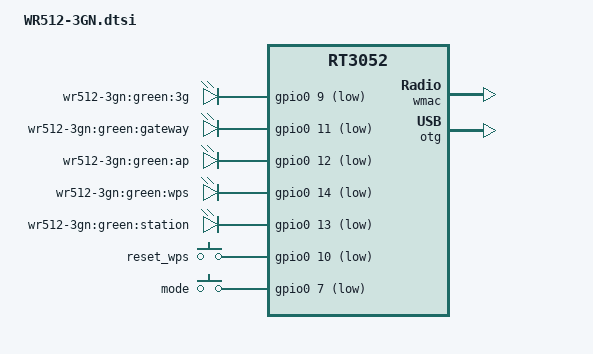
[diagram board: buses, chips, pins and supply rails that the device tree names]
#include "rt3050.dtsi"

#include <dt-bindings/gpio/gpio.h>
#include <dt-bindings/input/input.h>

/ {
	compatible = "unbranded,wr512-3gn", "ralink,rt3052-soc";

	aliases {
		led-boot = &led_wps;
		led-failsafe = &led_wps;
		led-running = &led_wps;
		led-upgrade = &led_wps;
	};

	leds {
		compatible = "gpio-leds";

		3g {
			label = "wr512-3gn:green:3g";
			gpios = <&gpio0 9 GPIO_ACTIVE_LOW>;
		};

		gateway {
			label = "wr512-3gn:green:gateway";
			gpios = <&gpio0 11 GPIO_ACTIVE_LOW>;
		};

		ap {
			label = "wr512-3gn:green:ap";
			gpios = <&gpio0 12 GPIO_ACTIVE_LOW>;
		};

		led_wps: wps {
			label = "wr512-3gn:green:wps";
			gpios = <&gpio0 14 GPIO_ACTIVE_LOW>;
		};

		station {
			label = "wr512-3gn:green:station";
			gpios = <&gpio0 13 GPIO_ACTIVE_LOW>;
		};
	};

	keys {
		compatible = "gpio-keys-polled";
		poll-interval = <20>;

		reset_wps {
			label = "reset_wps";
			gpios = <&gpio0 10 GPIO_ACTIVE_LOW>;
			linux,code = <KEY_RESTART>;
		};

		mode {
			label = "mode";
			gpios = <&gpio0 7 GPIO_ACTIVE_LOW>;
			linux,code = <BTN_0>;
		};
	};
};

&pinctrl {
	state_default: pinctrl0 {
		gpio {
			ralink,group = "spi", "i2c", "jtag", "rgmii", "mdio", "uartf";
			ralink,function = "gpio";
		};
	};
};

&esw {
	mediatek,portmap = <0x2f>;
};

&wmac {
	ralink,mtd-eeprom = <&factory 0>;
};

&otg {
	status = "okay";
};
